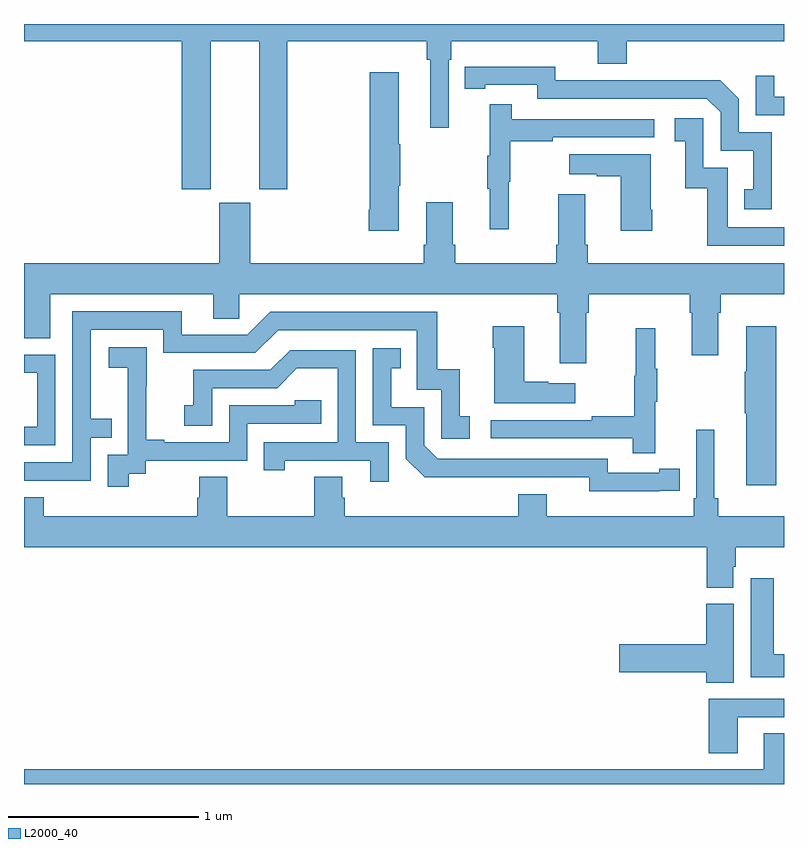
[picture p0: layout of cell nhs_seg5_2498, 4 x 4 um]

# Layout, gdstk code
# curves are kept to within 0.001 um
import gdstk
lib = gdstk.Library(unit=1e-6, precision=1e-09)
def P(c, l, *ps):  # polygons
    for p in ps: c.add(gdstk.Polygon(p, *l))
L2000_40 = (2000, 40)

nhs_seg5_2498 = lib.new_cell('nhs_seg5_2498')
P(nhs_seg5_2498, L2000_40, [(255.982,908.708),(256.238,908.708),(256.238,907.929),(256.386,907.929),(256.386,908.708),(257.119,908.708),(257.119,908.612),(257.138,908.612),(257.138,908.253),(257.235,908.253),(257.235,908.612),(257.249,908.612),(257.249,908.708),(258.02,908.708),(258.02,908.591),(258.173,908.591),(258.173,908.708),(259,908.708),(259,908.799),(255,908.799),(255,908.708),(255.83,908.708),(255.83,907.929),(255.982,907.929)],
  [(258.936,908.229),(258.762,908.229),(258.762,908.406),(258.664,908.504),(258.256,908.504),(258.256,908.502),(257.796,908.502),(257.796,908.575),(257.32,908.574),(257.32,908.458),(257.428,908.458),(257.428,908.478),(257.7,908.478),(257.7,908.406),(258.594,908.406),(258.666,908.334),(258.666,908.133),(258.839,908.133),(258.839,907.929),(258.79,907.929),(258.79,907.824),(258.936,907.824)],
  [(256.972,907.948),(256.98,907.948),(256.98,908.165),(256.972,908.165),(256.972,908.545),(256.819,908.545),(256.819,907.822),(256.814,907.822),(256.814,907.71),(256.972,907.71)],
  [(259,908.415),(258.949,908.415),(258.949,908.527),(258.852,908.527),(258.852,908.319),(259,908.319)],
  [(257.552,907.968),(257.56,907.968),(257.56,908.182),(257.783,908.182),(257.783,908.202),(258.316,908.202),(258.316,908.298),(257.567,908.298),(257.567,908.377),(257.45,908.377),(257.45,908.105),(257.439,908.105),(257.439,907.931),(257.45,907.931),(257.45,907.719),(257.552,907.719)],
  [(259,907.728),(258.705,907.728),(258.705,908.043),(258.576,908.043),(258.576,908.302),(258.426,908.302),(258.426,908.181),(258.479,908.181),(258.479,907.935),(258.597,907.935),(258.597,907.632),(259,907.632)],
  [(258.306,907.822),(258.298,907.822),(258.298,908.113),(257.871,908.113),(257.871,908.009),(258.014,908.009),(258.014,907.999),(258.14,907.999),(258.14,907.71),(258.306,907.71)],
  [(257.813,907.903),(257.813,907.636),(257.801,907.636),(257.801,907.54),(257.27,907.54),(257.27,907.636),(257.257,907.636),(257.257,907.861),(257.117,907.861),(257.117,907.636),(257.105,907.636),(257.105,907.54),(256.192,907.54),(256.192,907.857),(256.028,907.857),(256.028,907.54),(255,907.54),(255,907.144),(255.139,907.144),(255.139,907.376),(255.995,907.376),(255.995,907.249),(256.134,907.249),(256.134,907.376),(257.807,907.376),(257.807,907.28),(257.819,907.28),(257.819,907.014),(257.959,907.014),(257.959,907.28),(257.972,907.28),(257.972,907.376),(258.503,907.376),(258.503,907.28),(258.515,907.28),(258.515,907.056),(258.655,907.056),(258.655,907.28),(258.668,907.28),(258.668,907.376),(259,907.376),(259,907.54),(257.966,907.54),(257.966,907.636),(257.953,907.636),(257.953,907.903)],
  [(255.351,906.621),(255.461,906.621),(255.461,906.722),(255.351,906.722),(255.351,907.191),(255.732,907.191),(255.732,907.068),(256.218,907.068),(256.338,907.188),(257.067,907.188),(257.067,906.873),(257.196,906.873),(257.196,906.615),(257.347,906.615),(257.347,906.735),(257.294,906.735),(257.294,906.982),(257.176,906.982),(257.176,907.284),(256.296,907.284),(256.176,907.164),(255.829,907.164),(255.829,907.287),(255.255,907.287),(255.255,906.492),(255,906.492),(255,906.396),(255.351,906.396)],
  [(258.959,907.207),(258.8,907.207),(258.8,906.968),(258.793,906.968),(258.793,906.751),(258.8,906.751),(258.8,906.372),(258.959,906.372)],
  [(257.902,906.907),(257.759,906.907),(257.759,906.917),(257.632,906.917),(257.632,907.207),(257.467,907.207),(257.467,907.094),(257.474,907.094),(257.474,906.803),(257.902,906.803)],
  [(258.323,906.811),(258.334,906.811),(258.334,906.985),(258.323,906.985),(258.323,907.198),(258.22,907.198),(258.22,906.948),(258.213,906.948),(258.213,906.734),(257.989,906.734),(257.989,906.714),(257.457,906.714),(257.457,906.618),(258.205,906.618),(258.205,906.54),(258.323,906.54)],
  [(255.55,906.433),(255.642,906.433),(255.642,906.501),(256.176,906.501),(256.176,906.696),(256.565,906.696),(256.565,906.819),(256.425,906.819),(256.425,906.792),(256.08,906.792),(256.08,906.597),(255.739,906.597),(255.739,906.61),(255.644,906.61),(255.644,906.893),(255.645,906.893),(255.645,907.099),(255.447,907.099),(255.447,906.989),(255.545,906.989),(255.545,906.761),(255.546,906.761),(255.546,906.531),(255.441,906.531),(255.441,906.363),(255.55,906.363)],
  [(258.344,906.342),(258.452,906.342),(258.452,906.458),(258.344,906.458),(258.344,906.438),(258.072,906.438),(258.072,906.51),(257.178,906.51),(257.106,906.582),(257.106,906.783),(256.933,906.783),(256.933,906.987),(256.982,906.987),(256.982,907.093),(256.836,907.093),(256.836,906.687),(257.01,906.687),(257.01,906.51),(257.108,906.413),(257.976,906.414),(257.976,906.341)],
  [(256.92,906.597),(256.746,906.597),(256.746,907.083),(256.4,907.083),(256.295,906.978),(255.892,906.978),(255.892,906.793),(255.843,906.793),(255.843,906.684),(255.99,906.684),(255.99,906.882),(256.332,906.882),(256.436,906.986),(256.65,906.986),(256.65,906.597),(256.261,906.597),(256.261,906.45),(256.372,906.45),(256.372,906.501),(256.823,906.501),(256.823,906.39),(256.92,906.39)],
  [(255.165,907.059),(255,907.059),(255,906.963),(255.069,906.963),(255.069,906.678),(255,906.678),(255,906.582),(255.165,906.582)],
  [(258.537,906.304),(258.524,906.304),(258.524,906.208),(257.752,906.208),(257.752,906.325),(257.6,906.325),(257.6,906.208),(256.688,906.208),(256.688,906.306),(256.675,906.306),(256.675,906.416),(256.528,906.416),(256.528,906.208),(256.071,906.208),(256.071,906.416),(255.923,906.416),(255.923,906.306),(255.911,906.306),(255.911,906.208),(255.104,906.208),(255.104,906.307),(255,906.307),(255,906.044),(258.593,906.044),(258.593,905.833),(258.733,905.833),(258.733,905.943),(258.746,905.943),(258.746,906.044),(259,906.044),(259,906.208),(258.653,906.208),(258.653,906.304),(258.634,906.304),(258.634,906.664),(258.537,906.664)],
  [(259,905.482),(258.946,905.482),(258.946,905.881),(258.824,905.881),(258.824,905.36),(259,905.36)],
  [(258.736,905.748),(258.59,905.748),(258.59,905.534),(258.132,905.534),(258.132,905.387),(258.59,905.387),(258.59,905.332),(258.736,905.332)],
  [(258.757,905.151),(259,905.151),(259,905.247),(258.605,905.247),(258.605,904.962),(258.757,904.962)],
  [(259,905.066),(258.893,905.066),(258.893,904.876),(255,904.876),(255,904.799),(259,904.799)])

lib.write_gds('nhs_seg5_2498.gds')
